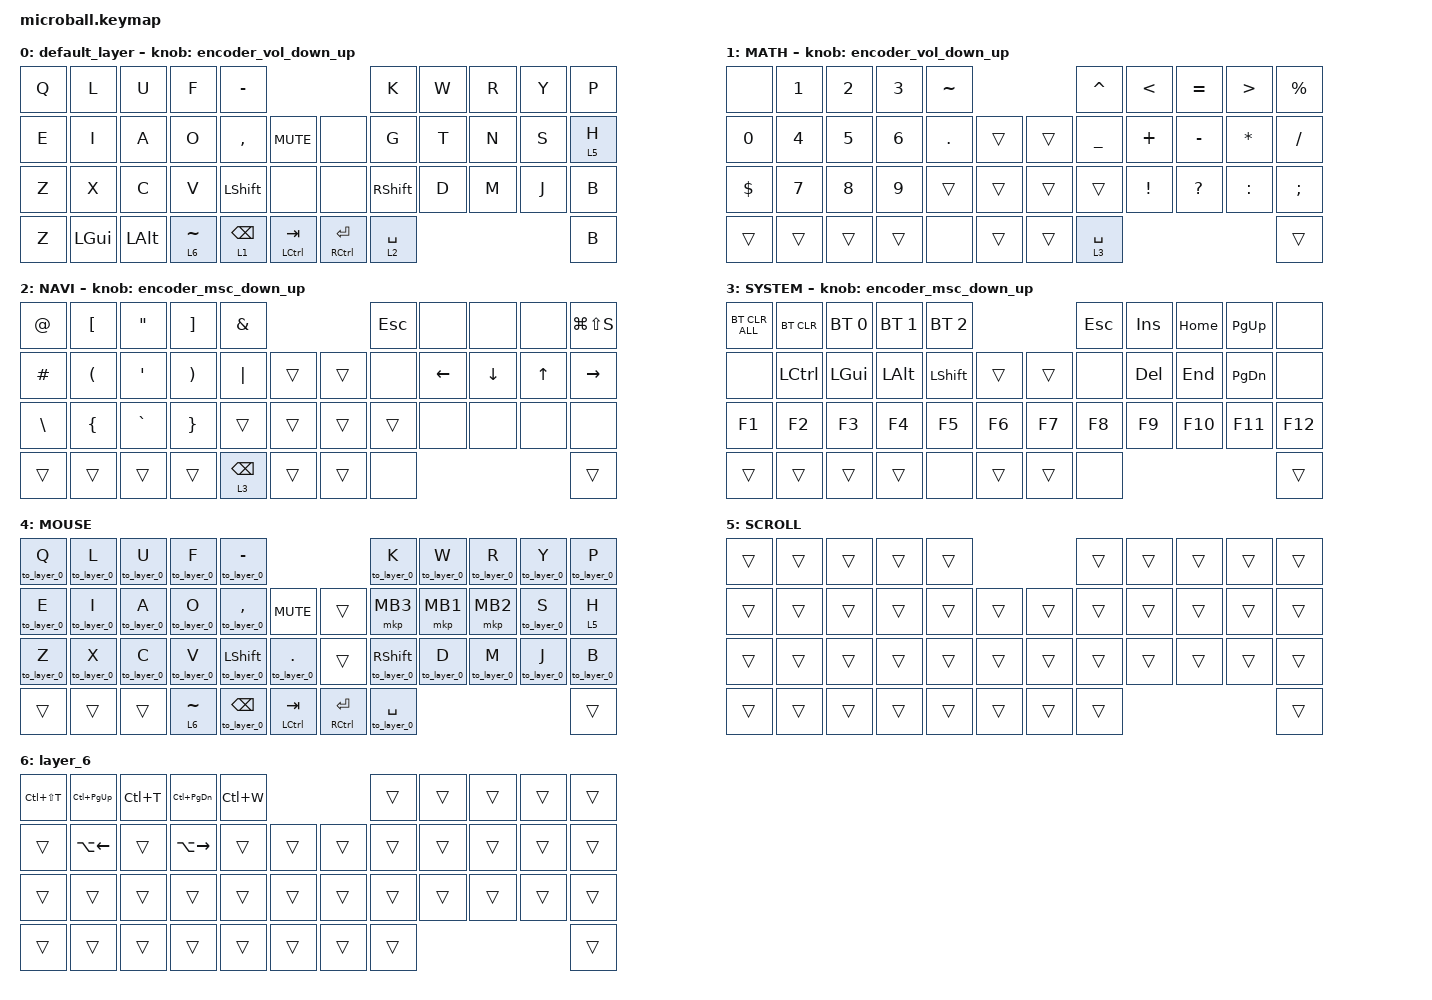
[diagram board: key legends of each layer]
#include <behaviors.dtsi>
#include <dt-bindings/zmk/bt.h>
#include <dt-bindings/zmk/keys.h>
#include <dt-bindings/zmk/pointing.h>

#define MOUSE 4
#define SCROLL 5
#define NUM 6
#define ZMK_POINTING_DEFAULT_SCRL_VAL 80

&mt {
    flavor = "tap-preferred";
    tapping-term-ms = <190>;
    quick-tap-ms = <350>;
    require-prior-idle-ms = <150>;
};

&lt {
    flavor = "balanced";
    tapping-term-ms = <175>;
    quick-tap-ms = <200>;
};

/ {
    combos {
        compatible = "zmk,combos";

        lang_kana {
            bindings = <&kp LC(J)>;
            key-positions = <18 19>;
        };

        reset_R {
            bindings = <&bootloader>;
            key-positions = <16 21>;
        };

        capslock {
            bindings = <&kp CAPS>;
            key-positions = <26 29>;
        };

        change_lang {
            bindings = <&kp LG(SPACE)>;
            key-positions = <13 12>;
        };
    };

    macros {
        to_layer_0: to_layer_0 {
            compatible = "zmk,behavior-macro-one-param";
            #binding-cells = <1>;
            bindings = <&to 0 &macro_param_1to1 &kp MACRO_PLACEHOLDER>;
            label = "TO_LAYER_0";
        };

        mkp_exit_AML: mkp_exit_AML {
            compatible = "zmk,behavior-macro-one-param";
            #binding-cells = <1>;
            bindings =
                <&macro_press>,
                <&macro_param_1to1 &mkp MACRO_PLACEHOLDER>,
                <&macro_pause_for_release>,
                <&macro_release>,
                <&macro_param_1to1 &mkp MACRO_PLACEHOLDER>,
                <&macro_tap>,
                <&sl 4>;

            label = "MKP_EXIT_AML";
        };
    };

    behaviors {
        lt_to_layer_0: lt_to_layer_0 {
            compatible = "zmk,behavior-hold-tap";
            label = "LAYER_TAP_TO_0";
            bindings = <&mo>, <&to_layer_0>;

            #binding-cells = <2>;
            tapping-term-ms = <200>;
        };

        encoder_msc_down_up: encoder_msc_down_up {
            compatible = "zmk,behavior-sensor-rotate";
            label = "ENCODER_MSC_DOWN_UP";
            #sensor-binding-cells = <0>;
            bindings = <&msc SCRL_DOWN>, <&msc SCRL_UP>;

            tap-ms = <20>;
        };

        encoder_vol_down_up: encoder_vol_down_up {
            compatible = "zmk,behavior-sensor-rotate";
            label = "ENCODER_VOL_DOWN_UP";
            #sensor-binding-cells = <0>;
            bindings = <&kp C_VOL_DN>, <&kp C_VOL_UP>;

            tap-ms = <20>; // 回転1回あたりの間隔
        };
    };

    keymap {
        compatible = "zmk,keymap";

        default_layer {
            bindings = <
&kp Q  &kp L     &kp U         &kp F        &kp MINUS                                          &kp K        &kp W  &kp R  &kp Y  &kp P
&kp E  &kp I     &kp A         &kp O        &kp COMMA        &kp C_MUTE         &none          &kp G        &kp T  &kp N  &kp S  &lt 5 H
&kp Z  &kp X     &kp C         &kp V        &kp LSHFT        &none              &none          &kp RSHFT    &kp D  &kp M  &kp J  &kp B
&kp Z  &kp LGUI  &kp LEFT_ALT  &lt 6 TILDE  &lt 1 BACKSPACE  &mt LCTRL TAB      &mt RCTRL RET  &lt 2 SPACE                       &kp B
            >;

            sensor-bindings = <&encoder_vol_down_up>;
        };

        MATH {
            bindings = <
&none       &kp NUMBER_1  &kp NUMBER_2  &kp NUMBER_3  &kp TILDE                      &kp CARET    &kp LT    &kp EQUAL  &kp GT     &kp PRCNT
&kp N0      &kp NUMBER_4  &kp N5        &kp NUMBER_6  &kp DOT    &trans      &trans  &kp UNDER    &kp PLUS  &kp MINUS  &kp STAR   &kp FSLH
&kp DOLLAR  &kp N7        &kp N8        &kp N9        &trans     &trans      &trans  &trans       &kp EXCL  &kp QMARK  &kp COLON  &kp SEMI
&trans      &trans        &trans        &trans        &none      &trans      &trans  &lt 3 SPACE                                  &trans
            >;

            sensor-bindings = <&encoder_vol_down_up>;
        };

        NAVI {
            bindings = <
&kp AT    &kp LBKT  &kp DQT    &kp RBKT  &kp AMPS                        &kp ESC  &none     &none     &none   &kp LG(LS(S))
&kp HASH  &kp LPAR  &kp SQT    &kp RPAR  &kp PIPE    &trans      &trans  &none    &kp LEFT  &kp DOWN  &kp UP  &kp RIGHT
&kp BSLH  &kp LBRC  &kp GRAVE  &kp RBRC  &trans      &trans      &trans  &trans   &none     &none     &none   &none
&trans    &trans    &trans     &trans    &lt 3 BSPC  &trans      &trans  &none                                &trans
            >;

            sensor-bindings = <&encoder_msc_down_up>;
        };

        SYSTEM {
            bindings = <
&bt BT_CLR_ALL  &bt BT_CLR  &bt BT_SEL 0  &bt BT_SEL 1  &bt BT_SEL 2                      &kp ESC  &kp INS  &kp HOME  &kp PG_UP  &none
&none           &kp LCTRL   &kp LGUI      &kp LALT      &kp LSHFT     &trans      &trans  &none    &kp DEL  &kp END   &kp PG_DN  &none
&kp F1          &kp F2      &kp F3        &kp F4        &kp F5        &kp F6      &kp F7  &kp F8   &kp F9   &kp F10   &kp F11    &kp F12
&trans          &trans      &trans        &trans        &none         &trans      &trans  &none                                  &trans
            >;

            sensor-bindings = <&encoder_msc_down_up>;
        };

        MOUSE {
            bindings = <
&to_layer_0 Q  &to_layer_0 L  &to_layer_0 U  &to_layer_0 F  &to_layer_0 MINUS                                            &to_layer_0 K      &to_layer_0 W  &to_layer_0 R  &to_layer_0 Y  &to_layer_0 P
&to_layer_0 E  &to_layer_0 I  &to_layer_0 A  &to_layer_0 O  &to_layer_0 COMMA      &kp C_MUTE           &trans           &mkp MB3           &mkp MB1       &mkp MB2       &to_layer_0 S  &lt 5 H
&to_layer_0 Z  &to_layer_0 X  &to_layer_0 C  &to_layer_0 V  &to_layer_0 LSHFT      &to_layer_0 DOT      &trans           &to_layer_0 RSHFT  &to_layer_0 D  &to_layer_0 M  &to_layer_0 J  &to_layer_0 B
&trans         &trans         &trans         &lt 6 TILDE    &to_layer_0 BACKSPACE  &mt LCTRL TAB        &mt RCTRL ENTER  &to_layer_0 SPACE                                               &trans
            >;
        };

        SCROLL {
            bindings = <
&trans  &trans  &trans  &trans  &trans                      &trans  &trans  &trans  &trans  &trans
&trans  &trans  &trans  &trans  &trans  &trans      &trans  &trans  &trans  &trans  &trans  &trans
&trans  &trans  &trans  &trans  &trans  &trans      &trans  &trans  &trans  &trans  &trans  &trans
&trans  &trans  &trans  &trans  &trans  &trans      &trans  &trans                          &trans
            >;
        };

        layer_6 {
            bindings = <
&kp LC(LS(T))  &kp LC(PAGE_UP)  &kp LC(T)  &kp LC(PAGE_DOWN)  &kp LC(W)                      &trans  &trans  &trans  &trans  &trans
&trans         &kp LA(LEFT)     &trans     &kp LA(RIGHT)      &trans     &trans      &trans  &trans  &trans  &trans  &trans  &trans
&trans         &trans           &trans     &trans             &trans     &trans      &trans  &trans  &trans  &trans  &trans  &trans
&trans         &trans           &trans     &trans             &trans     &trans      &trans  &trans                          &trans
            >;
        };
    };
};
